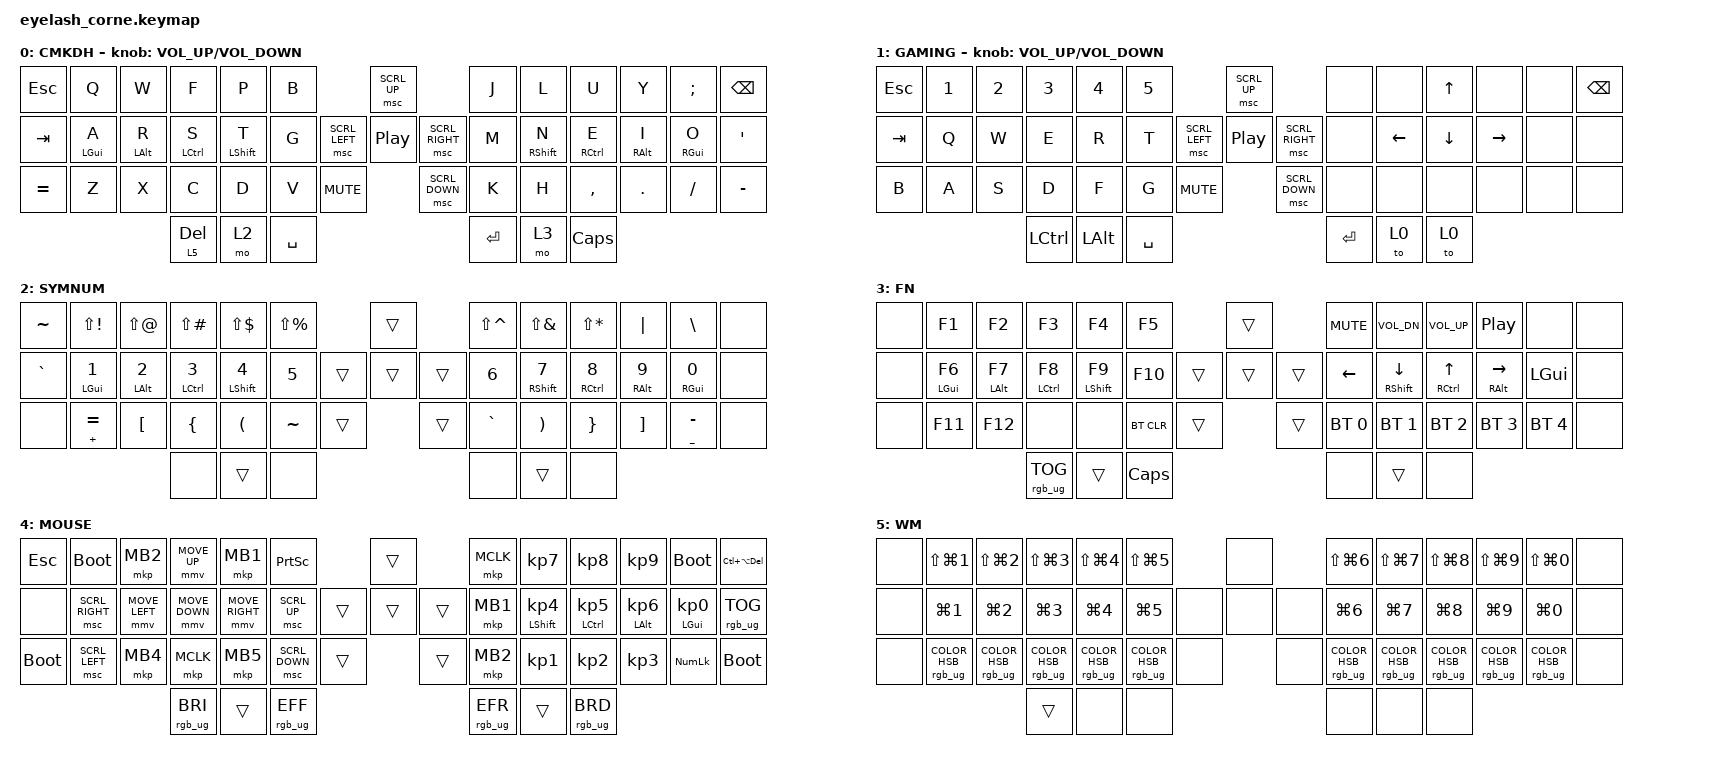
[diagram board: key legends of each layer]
#define ZMK_POINTING_DEFAULT_MOVE_VAL 1200  // 600
#define ZMK_POINTING_DEFAULT_SCRL_VAL 25   // 10

#include <input/processors.dtsi>
#include <zephyr/dt-bindings/input/input-event-codes.h>
#include <behaviors/runtime-sensor-rotate.dtsi>
#include <behaviors.dtsi>
#include <dt-bindings/zmk/bt.h>
#include <dt-bindings/zmk/keys.h>
#include <dt-bindings/zmk/pointing.h>
#include <dt-bindings/zmk/rgb.h>

&soft_off { hold-time-ms = <2000>; };

&mmv_input_listener { input-processors = <&zip_xy_scaler 2 1>; };

&msc_input_listener { input-processors = <&zip_scroll_scaler 2 1>; };

&mmv {
    time-to-max-speed-ms = <500>;
    acceleration-exponent = <1>;
    trigger-period-ms = <16>;
};

&mt {
    tapping-term-ms = <180>;
    quick-tap-ms = <180>;
    require-prior-idle-ms = <150>;
    flavor = "tap-preferred";
    hold-trigger-key-positions = <14 15 16 17 23 24 25 26>;
    hold-trigger-on-release;
};

/ {
    behaviors {
        td0: td0 {
            compatible = "zmk,behavior-tap-dance";
            display-name = "Shift/Caps Lock Tap Dance";
            #binding-cells = <0>;
            bindings = <&kp LEFT_SHIFT>, <&kp CAPS>;
        };

        mouse_click: mouse_click {
            compatible = "zmk,behavior-hold-tap";
            label = "MOUSE_CLICK";
            #binding-cells = <2>;
            tapping-term-ms = <500>;
            flavor = "balanced";
            hold-trigger-key-positions = <20>;
            hold-trigger-on-release;
            bindings = <&mkp>, <&mkp>;
        };

        mod_kp: mod_kp {
            compatible = "zmk,behavior-hold-tap";
            label = "MOD_KP";
            bindings = <&mo>, <&kp>;

            #binding-cells = <2>;
            tapping-term-ms = <130>;
            flavor = "hold-preferred";
            quick-tap-ms = <130>;
            hold-trigger-key-positions = <42 44 45 47 43 46>;
        };

        to_kp: to_kp {
            compatible = "zmk,behavior-hold-tap";
            label = "TO_KP";
            bindings = <&to>, <&kp>;

            #binding-cells = <2>;
            tapping-term-ms = <500>;
            flavor = "tap-preferred";
        };

        hml: home_row_mod_left {
            compatible = "zmk,behavior-hold-tap";
            #binding-cells = <2>;
            flavor = "balanced";
            require-prior-idle-ms = <150>;
            tapping-term-ms = <200>;
            quick-tap-ms = <175>;
            bindings = <&kp>, <&kp>;

            hold-trigger-key-positions = <22 23 24 25 26 7 8 9 10 11 36 37 38 39 40 45 46 47>; // List of keys on the right side of the keyboard
            hold-trigger-on-release;
        };

        hmr: home_row_mod_right {
            compatible = "zmk,behavior-hold-tap";
            #binding-cells = <2>;
            flavor = "balanced";
            require-prior-idle-ms = <150>;
            tapping-term-ms = <200>;
            quick-tap-ms = <175>;
            bindings = <&kp>, <&kp>;

            hold-trigger-key-positions = <2 3 4 5 15 16 17 18 30 31 32 33 1 14 29 42 43 44>; // List of keys on the left side of the keyboard
            hold-trigger-on-release;
        };

        mt_pinky: mt_pinky {
            compatible = "zmk,behavior-hold-tap";
            label = "MT_PINKY";
            bindings = <&kp>, <&kp>;

            #binding-cells = <2>;
            tapping-term-ms = <200>;
            quick-tap-ms = <180>;
            require-prior-idle-ms = <150>;
            hold-trigger-on-release;
            hold-trigger-key-positions = <14 26>;
            flavor = "tap-preferred";
        };

        rsr_vol: rsr_vol {
            compatible = "zmk,behavior-runtime-sensor-rotate";
            #sensor-binding-cells = <0>;
            tap-ms = <5>;
            cw-binding = <&kp C_VOL_UP>;
            ccw-binding = <&kp C_VOL_DN>;
        };

        rsr_trans: rsr_trans {
            compatible = "zmk,behavior-runtime-sensor-rotate";
            #sensor-binding-cells = <0>;
            tap-ms = <0>;
        };
    };

    combos {
        compatible = "zmk,combos";

        softoff {
            bindings = <&soft_off>;
            key-positions = <1 15 29>;
        };

        esc {
            bindings = <&kp ESC>;
            key-positions = <3 4>;
            layers = <0 1>;
            require-prior-idle-ms = <130>;
            timeout-ms = <40>;
        };

        tab {
            bindings = <&kp TAB>;
            key-positions = <16 17>;
            layers = <0 1>;
            require-prior-idle-ms = <130>;
            timeout-ms = <35>;
        };

        bspc {
            bindings = <&kp BSPC>;
            key-positions = <8 9>;
            layers = <0 1>;
            require-prior-idle-ms = <130>;
            timeout-ms = <36>;
        };

        quote {
            bindings = <&kp SINGLE_QUOTE>;
            key-positions = <39 38>;
            layers = <0 1>;
            require-prior-idle-ms = <130>;
            timeout-ms = <50>;
        };
    };

    keymap {
        compatible = "zmk,keymap";

        default_layer {
            display-name = "CMKDH";
            bindings = <
&kp ESC    &kp Q        &kp W        &kp F             &kp P          &kp B                                    &msc SCRL_UP                     &kp J      &kp L          &kp U         &kp Y        &kp SEMI     &kp BACKSPACE
&kp TAB    &hml LGUI A  &hml LALT R  &hml LCTRL S      &hml LSHIFT T  &kp G                    &msc SCRL_LEFT  &kp C_PP        &msc SCRL_RIGHT  &kp M      &hmr RSHIFT N  &hmr RCTRL E  &hmr RALT I  &hmr RGUI O  &kp SINGLE_QUOTE
&kp EQUAL  &kp Z        &kp X        &kp C             &kp D          &kp V      &kp C_MUTE                    &msc SCRL_DOWN                   &kp K      &kp H          &kp COMMA     &kp DOT      &kp SLASH    &kp MINUS
                                     &mod_kp 5 DELETE  &mo 2          &kp SPACE                                                                 &kp ENTER  &mo 3          &kp CAPS
            >;

            sensor-bindings = <&inc_dec_kp C_VOLUME_UP C_VOLUME_DOWN>;
        };

        layer_1 {
            display-name = "GAMING";
            bindings = <
&kp ESC  &kp N1  &kp NUMBER_2  &kp NUMBER_3  &kp NUMBER_4  &kp N5                                   &msc SCRL_UP                     &none      &none     &kp UP_ARROW  &none      &none  &kp BACKSPACE
&kp TAB  &kp Q   &kp W         &kp E         &kp R         &kp T                    &msc SCRL_LEFT  &kp C_PP        &msc SCRL_RIGHT  &none      &kp LEFT  &kp DOWN      &kp RIGHT  &none  &none
&kp B    &kp A   &kp S         &kp D         &kp F         &kp G      &kp C_MUTE                    &msc SCRL_DOWN                   &none      &none     &none         &none      &none  &none
                               &kp LCTRL     &kp LEFT_ALT  &kp SPACE                                                                 &kp ENTER  &to 0     &to 0
            >;

            sensor-bindings = <&inc_dec_kp C_VOLUME_UP C_VOLUME_DOWN>;
        };

        layer_2 {
            display-name = "SYMNUM";
            bindings = <
&kp TILDE  &kp LS(EXCL)    &kp LS(AT)    &kp LS(POUND)  &kp LS(DLLR)    &kp LS(PRCNT)                    &trans          &kp LS(CARET)  &kp LS(AMPS)    &kp LS(STAR)   &kp PIPE      &kp BSLH              &none
&kp GRAVE  &hml LGUI N1    &hml LALT N2  &hml LCTRL N3  &hml LSHIFT N4  &kp N5                   &trans  &trans  &trans  &kp N6         &hmr RSHIFT N7  &hmr RCTRL N8  &hmr RALT N9  &hmr RGUI N0          &none
&none      &mt PLUS EQUAL  &kp LBKT      &kp LBRC       &kp LPAR        &kp TILDE      &trans            &trans          &kp GRAVE      &kp RPAR        &kp RBRC       &kp RBKT      &mt UNDERSCORE MINUS  &none
                                         &none          &trans          &none                                            &none          &trans          &none
            >;
        };

        layer_3 {
            display-name = "FN";
            bindings = <
&none  &kp F1        &kp F2        &kp F3           &kp F4          &kp F5                        &trans          &kp C_MUTE    &kp C_VOL_DN      &kp C_VOL_UP   &kp C_PLAY_PAUSE  &none         &none
&none  &hml LGUI F6  &hml LALT F7  &hml LCTRL F8    &hml LSHIFT F9  &kp F10               &trans  &trans  &trans  &kp LEFT      &hmr RSHIFT DOWN  &hmr RCTRL UP  &hmr RALT RIGHT   &kp LGUI      &none
&none  &kp F11       &kp F12       &none            &none           &bt BT_CLR  &trans            &trans          &bt BT_SEL 0  &bt BT_SEL 1      &bt BT_SEL 2   &bt BT_SEL 3      &bt BT_SEL 4  &none
                                   &rgb_ug RGB_TOG  &trans          &kp CAPS                                      &none         &trans            &none
            >;
        };

        layer_4 {
            display-name = "MOUSE";
            bindings = <
&kp ESC      &bootloader      &mkp MB2        &mmv MOVE_UP     &mkp MB1         &kp PRINTSCREEN                    &trans          &mkp MCLK        &kp KP_N7         &kp KP_N8        &kp KP_N9       &bootloader           &kp LC(LA(DELETE))
&none        &msc SCRL_RIGHT  &mmv MOVE_LEFT  &mmv MOVE_DOWN   &mmv MOVE_RIGHT  &msc SCRL_UP               &trans  &trans  &trans  &mkp MB1         &mt LSHIFT KP_N4  &mt LCTRL KP_N5  &mt LALT KP_N6  &mt_pinky LGUI KP_N0  &rgb_ug RGB_TOG
&bootloader  &msc SCRL_LEFT   &mkp MB4        &mkp MCLK        &mkp MB5         &msc SCRL_DOWN   &trans            &trans          &mkp MB2         &kp KP_N1         &kp KP_N2        &kp KP_N3       &kp KP_NUM            &bootloader
                                              &rgb_ug RGB_BRI  &trans           &rgb_ug RGB_EFF                                    &rgb_ug RGB_EFR  &trans            &rgb_ug RGB_BRD
            >;
        };

        layer_5 {
            display-name = "WM";
            bindings = <
&none  &kp LS(LG(N1))                    &kp LS(LG(N2))                     &kp LS(LG(N3))                     &kp LS(LG(N4))                     &kp LS(LG(N5))                                     &none         &kp LS(LG(N6))                   &kp LS(LG(N7))                   &kp LS(LG(N8))                    &kp LS(LG(N9))                     &kp LS(LG(N0))                     &none
&none  &kp LG(N1)                        &kp LG(N2)                         &kp LG(N3)                         &kp LG(N4)                         &kp LG(N5)                                  &none  &none  &none  &kp LG(N6)                       &kp LG(N7)                       &kp LG(N8)                        &kp LG(N9)                         &kp LG(N0)                         &none
&none  &rgb_ug RGB_COLOR_HSB(15,100,50)  &rgb_ug RGB_COLOR_HSB(145,100,50)  &rgb_ug RGB_COLOR_HSB(301,100,50)  &rgb_ug RGB_COLOR_HSB(280,100,50)  &rgb_ug RGB_COLOR_HSB(238,100,50)  &none           &none         &rgb_ug RGB_COLOR_HSB(0,100,50)  &rgb_ug RGB_COLOR_HSB(35,99,49)  &rgb_ug RGB_COLOR_HSB(65,100,50)  &rgb_ug RGB_COLOR_HSB(136,100,50)  &rgb_ug RGB_COLOR_HSB(170,100,50)  &none
                                                                            &trans                             &none                              &none                                                            &none                            &none                            &none
            >;
        };
    };

    conditional_layers {
        compatible = "zmk,conditional-layers";

        MOUSENUMPAD {
            if-layers = <2 3>;
            then-layer = <4>;
        };
    };
};
